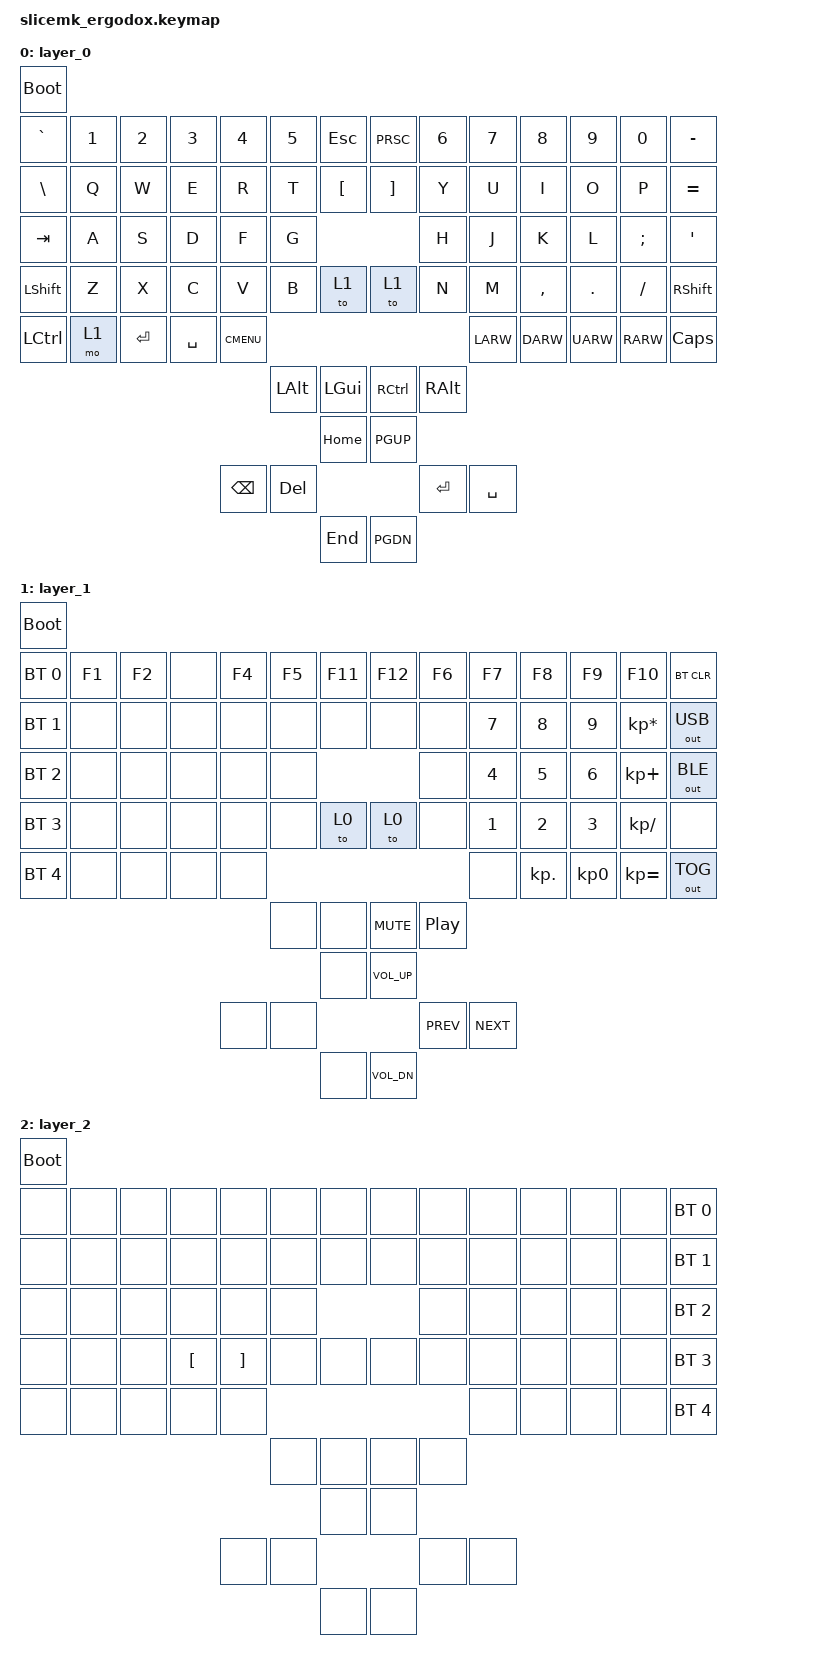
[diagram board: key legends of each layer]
#include <behaviors.dtsi>
#include <dt-bindings/zmk/bt.h>
#include <dt-bindings/zmk/keys.h>
#include <dt-bindings/zmk/outputs.h>

/ {
        keymap {
                compatible = "zmk,keymap";

                layer_0 {
                        bindings = <
    &bootloader
    &kp GRAV   &kp NUM_1  &kp NUM_2  &kp NUM_3  &kp NUM_4  &kp NUM_5  &kp ESC    &kp PRSC   &kp NUM_6  &kp NUM_7  &kp NUM_8  &kp NUM_9  &kp NUM_0  &kp MINUS
    &kp BSLH   &kp Q      &kp W      &kp E      &kp R      &kp T      &kp LBKT   &kp RBKT   &kp Y      &kp U      &kp I      &kp O      &kp P      &kp EQUAL
    &kp TAB    &kp A      &kp S      &kp D      &kp F      &kp G                            &kp H      &kp J      &kp K      &kp L      &kp SEMI   &kp APOS
    &kp LSHFT  &kp Z      &kp X      &kp C      &kp V      &kp B      &to 1      &to 1      &kp N      &kp M      &kp COMMA  &kp DOT    &kp FSLH   &kp RSHFT
    &kp LCTRL  &mo 1      &kp RET    &kp SPC    &kp K_CMENU                                            &kp LARW   &kp DARW   &kp UARW   &kp RARW   &kp CAPS
                                                           &kp LALT   &kp LGUI   &kp RCTRL  &kp RALT
                                                                      &kp HOME   &kp PGUP
                                                &kp BSPC   &kp DEL                          &kp RET    &kp SPACE
                                                                      &kp END    &kp PGDN
                        >;
                };

                layer_1 {
                        bindings = <
    &bootloader
    &bt BT_SEL 0  &kp F1     &kp F2     &none      &kp F4     &kp F5     &kp F11    &kp F12    &kp F6     &kp F7     &kp F8     &kp F9     &kp F10          &bt BT_CLR
    &bt BT_SEL 1  &none      &none      &none      &none      &none      &none      &none      &none      &kp NUM_7  &kp NUM_8  &kp NUM_9  &kp KP_MULTIPLY  &out OUT_USB
    &bt BT_SEL 2  &none      &none      &none      &none      &none                            &none      &kp NUM_4  &kp NUM_5  &kp NUM_6  &kp KP_PLUS      &out OUT_BLE
    &bt BT_SEL 3  &none      &none      &none      &none      &none      &to 0      &to 0      &none      &kp NUM_1  &kp NUM_2  &kp NUM_3  &kp KP_DIVIDE    &none
    &bt BT_SEL 4  &none      &none      &none      &none                                                  &none      &kp KP_DOT &kp KP_N0  &kp KP_EQUAL     &out OUT_TOG
                                                           &none      &none      &kp C_MUTE &kp C_PP
                                                                      &none      &kp C_VOL_UP
                                                &none      &none                            &kp C_PREV &kp C_NEXT
                                                                      &none      &kp C_VOL_DN
                        >;
                };

                layer_2 {
                        bindings = <
    &bootloader
    &none      &none      &none      &none      &none      &none      &none      &none      &none      &none      &none      &none      &none      &bt BT_SEL 0
    &none      &none      &none      &none      &none      &none      &none      &none      &none      &none      &none      &none      &none      &bt BT_SEL 1
    &none      &none      &none      &none      &none      &none                            &none      &none      &none      &none      &none      &bt BT_SEL 2
    &none      &none      &none      &kp LBKT   &kp RBKT   &none      &none      &none      &none      &none      &none      &none      &none      &bt BT_SEL 3
    &none      &none      &none      &none      &none                                                  &none      &none      &none      &none      &bt BT_SEL 4
                                                           &none      &none      &none      &none
                                                                      &none      &none
                                                &none      &none                            &none      &none
                                                                      &none      &none
                        >;
                };

        };
};
